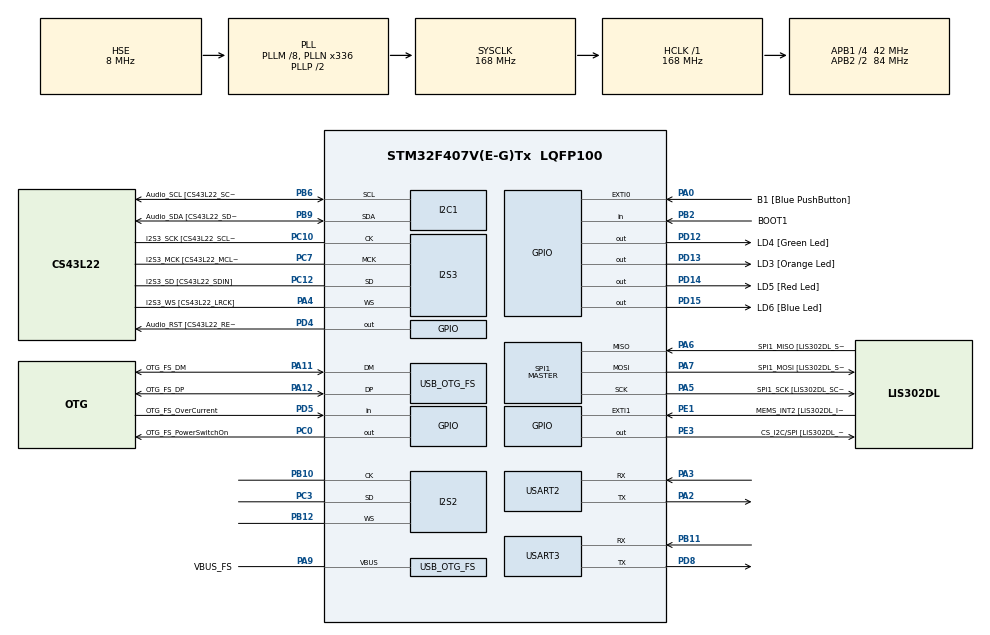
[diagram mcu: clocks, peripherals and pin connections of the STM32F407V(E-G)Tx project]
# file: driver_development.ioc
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Dma.Request0=SPI2_RX
Dma.SPI2_RX.0.Direction=DMA_PERIPH_TO_MEMORY
Dma.SPI2_RX.0.FIFOMode=DMA_FIFOMODE_DISABLE
Dma.SPI2_RX.0.Instance=DMA1_Stream3
Dma.SPI2_RX.0.MemDataAlignment=DMA_MDATAALIGN_HALFWORD
Dma.SPI2_RX.0.MemInc=DMA_MINC_ENABLE
Dma.SPI2_RX.0.Mode=DMA_CIRCULAR
Dma.SPI2_RX.0.PeriphDataAlignment=DMA_PDATAALIGN_HALFWORD
Dma.SPI2_RX.0.PeriphInc=DMA_PINC_DISABLE
Dma.SPI2_RX.0.Priority=DMA_PRIORITY_LOW
FREERTOS.Tasks01=defaultTask,24,128,StartDefaultTask,Default,NULL,Dynamic,NULL,NULL
FREERTOS.configUSE_NEWLIB_REENTRANT=1
I2S2.AudioFreq=I2S_AUDIOFREQ_32K
I2S2.ErrorAudioFreq=-0.26 %
I2S2.FullDuplexMode=I2S_FULLDUPLEXMODE_DISABLE
I2S2.Instance=SPI$Index
I2S2.Mode=I2S_MODE_MASTER_RX
I2S2.RealAudioFreq=31.914 KHz
I2S2.VirtualMode=I2S_MODE_MASTER
I2S3.AudioFreq-Half_Duplex_Master=I2S_AUDIOFREQ_96K
I2S3.ErrorAudioFreq=-2.34 %
I2S3.ErrorAudioFreq-Half_Duplex_Master=0.8 %
I2S3.FullDuplexMode=I2S_FULLDUPLEXMODE_DISABLE
I2S3.Instance=SPI$Index
I2S3.RealAudioFreq=93.75 KHz
I2S3.RealAudioFreq-Half_Duplex_Master=96.774 KHz
I2S3.VirtualMode=I2S_MODE_MASTER
Mcu.Family=STM32F4
Mcu.Name=STM32F407V(E-G)Tx
Mcu.Package=LQFP100
NVIC.DMA1_Stream3_IRQn=true\:5\:0\:false\:false\:true\:true\:false\:true\:true
NVIC.OTG_FS_IRQn=true\:5\:0\:false\:false\:true\:true\:true\:true\:true
NVIC.PriorityGroup=NVIC_PRIORITYGROUP_4
NVIC.SPI2_IRQn=true\:5\:0\:false\:false\:true\:true\:true\:true\:true
NVIC.TIM1_UP_TIM10_IRQn=true\:15\:0\:false\:false\:true\:false\:false\:true\:true
NVIC.TimeBase=TIM1_UP_TIM10_IRQn
NVIC.TimeBaseIP=TIM1
NVIC.USART3_IRQn=true\:5\:0\:false\:false\:true\:true\:true\:true\:true
PA0-WKUP.GPIO_Label=B1 [Blue PushButton]
PA0-WKUP.GPIO_ModeDefaultEXTI=GPIO_MODE_EVT_RISING
PA0-WKUP.GPIO_PuPd=GPIO_NOPULL
PA0-WKUP.Signal=GPXTI0
PA10.GPIO_Label=OTG_FS_ID
PA10.GPIO_Mode=GPIO_MODE_AF_PP
PA10.GPIO_PuPd=GPIO_NOPULL
PA10.GPIO_Speed=GPIO_SPEED_FREQ_LOW
PA10.Signal=USB_OTG_FS_ID
PA11.GPIO_Label=OTG_FS_DM
PA11.GPIO_Mode=GPIO_MODE_AF_PP
PA11.GPIO_PuPd=GPIO_NOPULL
PA11.GPIO_Speed=GPIO_SPEED_FREQ_LOW
PA11.Mode=Host_Only
PA11.Signal=USB_OTG_FS_DM
PA12.GPIO_Label=OTG_FS_DP
PA12.GPIO_Mode=GPIO_MODE_AF_PP
PA12.GPIO_PuPd=GPIO_NOPULL
PA12.GPIO_Speed=GPIO_SPEED_FREQ_LOW
PA12.Mode=Host_Only
PA12.Signal=USB_OTG_FS_DP
PA13.GPIO_Label=SWDIO
PA13.Mode=Serial_Wire
PA13.Signal=SYS_JTMS-SWDIO
PA14.GPIO_Label=SWCLK
PA14.Mode=Serial_Wire
PA14.Signal=SYS_JTCK-SWCLK
PA2.Mode=Asynchronous
PA2.Signal=USART2_TX
PA3.Mode=Asynchronous
PA3.Signal=USART2_RX
PA4.GPIO_Label=I2S3_WS [CS43L22_LRCK]
PA4.GPIO_Mode=GPIO_MODE_AF_PP
PA4.GPIO_PuPd=GPIO_NOPULL
PA4.GPIO_Speed=GPIO_SPEED_FREQ_LOW
PA4.Mode=Half_Duplex_Master
PA4.Signal=I2S3_WS
PA5.GPIO_Label=SPI1_SCK [LIS302DL_SCL/SPC]
PA5.GPIO_Mode=GPIO_MODE_AF_PP
PA5.GPIO_PuPd=GPIO_NOPULL
PA5.GPIO_Speed=GPIO_SPEED_FREQ_LOW
PA5.Mode=Full_Duplex_Master
PA5.Signal=SPI1_SCK
PA6.GPIO_Label=SPI1_MISO [LIS302DL_SDO]
PA6.GPIO_Mode=GPIO_MODE_AF_PP
PA6.GPIO_PuPd=GPIO_NOPULL
PA6.GPIO_Speed=GPIO_SPEED_FREQ_LOW
PA6.Mode=Full_Duplex_Master
PA6.Signal=SPI1_MISO
PA7.GPIO_Label=SPI1_MOSI [LIS302DL_SDA/SDI/SDO]
PA7.GPIO_Mode=GPIO_MODE_AF_PP
PA7.GPIO_PuPd=GPIO_NOPULL
PA7.GPIO_Speed=GPIO_SPEED_FREQ_LOW
PA7.Mode=Full_Duplex_Master
PA7.Signal=SPI1_MOSI
PA9.GPIO_Label=VBUS_FS
PA9.GPIO_Mode=GPIO_MODE_INPUT
PA9.GPIO_PuPd=GPIO_NOPULL
PA9.Mode=Activate_VBUS
PA9.Signal=USB_OTG_FS_VBUS
PB10.GPIO_Mode=GPIO_MODE_AF_PP
PB10.GPIO_PuPd=GPIO_NOPULL
PB10.GPIO_Speed=GPIO_SPEED_FREQ_LOW
PB10.Mode=Half_Duplex_Master
PB10.Signal=I2S2_CK
PB11.Mode=Asynchronous
PB11.Signal=USART3_RX
PB12.Mode=Half_Duplex_Master
PB12.Signal=I2S2_WS
PB2.GPIO_Label=BOOT1
PB2.GPIO_Mode=GPIO_MODE_INPUT
PB2.GPIO_PuPd=GPIO_NOPULL
PB2.Signal=GPIO_Input
PB3.GPIO_Label=SWO
PB3.Signal=SYS_JTDO-SWO
PB6.GPIO_Label=Audio_SCL [CS43L22_SCL]
PB6.GPIO_Mode=GPIO_MODE_AF_OD
PB6.GPIO_Pu=GPIO_PULLUP
PB6.GPIO_PuPd=GPIO_NOPULL
PB6.GPIO_Speed=GPIO_SPEED_FREQ_LOW
PB6.Mode=I2C
PB6.Signal=I2C1_SCL
PB9.GPIO_Label=Audio_SDA [CS43L22_SDA]
PB9.GPIO_Mode=GPIO_MODE_AF_OD
PB9.GPIO_Pu=GPIO_PULLUP
PB9.GPIO_PuPd=GPIO_NOPULL
PB9.GPIO_Speed=GPIO_SPEED_FREQ_LOW
PB9.Mode=I2C
PB9.Signal=I2C1_SDA
PC0.GPIO_Label=OTG_FS_PowerSwitchOn
PC0.GPIO_PuPd=GPIO_NOPULL
PC0.GPIO_Speed=GPIO_SPEED_FREQ_LOW
PC0.PinState=GPIO_PIN_SET
PC0.Signal=GPIO_Output
PC10.GPIO_Label=I2S3_SCK [CS43L22_SCLK]
PC10.GPIO_Mode=GPIO_MODE_AF_PP
PC10.GPIO_PuPd=GPIO_NOPULL
PC10.GPIO_Speed=GPIO_SPEED_FREQ_LOW
PC10.Mode=Half_Duplex_Master
PC10.Signal=I2S3_CK
PC12.GPIO_Label=I2S3_SD [CS43L22_SDIN]
PC12.GPIO_Mode=GPIO_MODE_AF_PP
PC12.GPIO_PuPd=GPIO_NOPULL
PC12.GPIO_Speed=GPIO_SPEED_FREQ_LOW
PC12.Mode=Half_Duplex_Master
PC12.Signal=I2S3_SD
PC14-OSC32_IN.GPIO_Label=PC14-OSC32_IN
PC14-OSC32_IN.Mode=LSE-External-Oscillator
PC14-OSC32_IN.Signal=RCC_OSC32_IN
PC15-OSC32_OUT.GPIO_Label=PC15-OSC32_OUT
PC15-OSC32_OUT.Mode=LSE-External-Oscillator
PC15-OSC32_OUT.Signal=RCC_OSC32_OUT
PC3.GPIO_Mode=GPIO_MODE_AF_PP
PC3.GPIO_PuPd=GPIO_NOPULL
PC3.GPIO_Speed=GPIO_SPEED_FREQ_LOW
PC3.Mode=Half_Duplex_Master
PC3.Signal=I2S2_SD
PC7.GPIO_Label=I2S3_MCK [CS43L22_MCLK]
PC7.GPIO_Mode=GPIO_MODE_AF_PP
PC7.GPIO_PuPd=GPIO_NOPULL
PC7.GPIO_Speed=GPIO_SPEED_FREQ_LOW
PC7.Mode=Master_Clock_Activated
PC7.Signal=I2S3_MCK
PD12.GPIO_Label=LD4 [Green Led]
PD12.GPIO_PuPd=GPIO_NOPULL
PD12.GPIO_Speed=GPIO_SPEED_FREQ_LOW
PD12.Signal=GPIO_Output
PD13.GPIO_Label=LD3 [Orange Led]
PD13.GPIO_PuPd=GPIO_NOPULL
PD13.GPIO_Speed=GPIO_SPEED_FREQ_LOW
PD13.Signal=GPIO_Output
PD14.GPIO_Label=LD5 [Red Led]
PD14.GPIO_PuPd=GPIO_NOPULL
PD14.GPIO_Speed=GPIO_SPEED_FREQ_LOW
PD14.Signal=GPIO_Output
PD15.GPIO_Label=LD6 [Blue Led]
PD15.GPIO_PuPd=GPIO_NOPULL
PD15.GPIO_Speed=GPIO_SPEED_FREQ_LOW
PD15.Signal=GPIO_Output
PD4.GPIO_Label=Audio_RST [CS43L22_RESET]
PD4.GPIO_PuPd=GPIO_NOPULL
PD4.GPIO_Speed=GPIO_SPEED_FREQ_LOW
PD4.Signal=GPIO_Output
PD5.GPIO_Label=OTG_FS_OverCurrent
PD5.GPIO_Mode=GPIO_MODE_INPUT
PD5.GPIO_PuPd=GPIO_NOPULL
PD5.Signal=GPIO_Input
PD8.Mode=Asynchronous
PD8.Signal=USART3_TX
PE1.GPIO_Label=MEMS_INT2 [LIS302DL_INT2]
PE1.GPIO_ModeDefaultEXTI=GPIO_MODE_EVT_RISING
PE1.GPIO_PuPd=GPIO_NOPULL
PE1.Signal=GPXTI1
PE3.GPIO_Label=CS_I2C/SPI [LIS302DL_CS_I2C/SPI]
PE3.GPIO_PuPd=GPIO_NOPULL
PE3.GPIO_Speed=GPIO_SPEED_FREQ_LOW
PE3.Signal=GPIO_Output
PH0-OSC_IN.GPIO_Label=PH0-OSC_IN
PH0-OSC_IN.Mode=HSE-External-Oscillator
PH0-OSC_IN.Signal=RCC_OSC_IN
PH1-OSC_OUT.GPIO_Label=PH1-OSC_OUT
PH1-OSC_OUT.Mode=HSE-External-Oscillator
PH1-OSC_OUT.Signal=RCC_OSC_OUT
ProjectManager.HeapSize=0x200
ProjectManager.StackSize=0x400
ProjectManager.TargetToolchain=STM32CubeIDE
RCC.48MHZClocksFreq_Value=48000000
RCC.AHBFreq_Value=168000000
RCC.APB1CLKDivider=RCC_HCLK_DIV4
RCC.APB1Freq_Value=42000000
RCC.APB1TimFreq_Value=84000000
RCC.APB2CLKDivider=RCC_HCLK_DIV2
RCC.APB2Freq_Value=84000000
RCC.APB2TimFreq_Value=168000000
RCC.CortexFreq_Value=168000000
RCC.HCLKFreq_Value=168000000
RCC.HSE_VALUE=8000000
RCC.HSI_VALUE=16000000
RCC.PLLM=8
RCC.PLLN=336
RCC.PLLQ=7
RCC.SYSCLKFreq_VALUE=168000000
RCC.SYSCLKSource=RCC_SYSCLKSOURCE_PLLCLK
RCC.VCOOutputFreq_Value=336000000
SPI1.BaudRatePrescaler-Full_Duplex_Master=SPI_BAUDRATEPRESCALER_2
SPI1.CalculateBaudRate-Full_Duplex_Master=42.0 MBits/s
SPI1.Direction=SPI_DIRECTION_2LINES
SPI1.Mode=SPI_MODE_MASTER
SPI1.Mode-Full_Duplex_Master=SPI_MODE_MASTER
SPI1.VirtualType=VM_MASTER
STMicroelectronics.X-CUBE-AI.10.2.0.XAaCUBEAaAICcArtificialOoIntelligenceJjCore=true
USART2.VirtualMode=VM_ASYNC
USART3.VirtualMode=VM_ASYNC
USB_HOST.BSP.number=1
USB_HOST.USBH_HandleTypeDef-CDC_FS=hUsbHostFS
USB_HOST.VirtualModeFS=Cdc
USB_HOST0.BSP.STBoard=false
USB_HOST0.BSP.api=Unknown
USB_HOST0.BSP.instance=PC0
USB_HOST0.BSP.ip=GPIO
USB_HOST0.BSP.mode=Output
USB_HOST0.BSP.name=Drive_VBUS_FS
USB_HOST0.BSP.solution=PC0
USB_OTG_FS.VirtualMode=Host_Only
USB_OTG_FS.phy_itface=HCD_PHY_EMBEDDED
VP_CRC_VS_CRC.Mode=CRC_Activate
VP_FREERTOS_VS_CMSIS_V2.Mode=CMSIS_V2
VP_PDM2PCM_VS_PDM2PCM.Mode=PDM2PCM_Channel
VP_STMicroelectronics.X-CUBE-AI_VS_ArtificialOoIntelligenceJjXAaCUBEAaAI_10.2.0.Mode=ArtificialOoIntelligenceJjXAaCUBEAaAI
VP_SYS_VS_tim1.Mode=TIM1
VP_USB_HOST_VS_USB_HOST_CDC_FS.Mode=CDC_FS
board=STM32F407G-DISC1

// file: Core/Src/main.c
/* USER CODE BEGIN Header */
/**
  ******************************************************************************
  * @file           : main.c
  * @brief          : Main program body
  ******************************************************************************
  * @attention
  *
  * Copyright (c) 2026 STMicroelectronics.
  * All rights reserved.
  *
  * This software is licensed under terms that can be found in the LICENSE file
  * in the root directory of this software component.
  * If no LICENSE file comes with this software, it is provided AS-IS.
  *
  ******************************************************************************
  */
/* USER CODE END Header */
#include "main.h"
#include "cmsis_os.h"
#include "pdm2pcm.h"
#include "usb_host.h"

/* USER CODE BEGIN Includes */
#include <stdio.h>
#include <stdlib.h>
#include "microphone.h"
#include "at_command.h"
#include "cellular.h"
#include "ai_platform.h"
#include "ai_datatypes_defines.h"
/* USER CODE END Includes */

/* USER CODE BEGIN PM */

/* Define Model's output classes. */
#define NO_CLASS                  0U
#define NOISE_CLASS               1U
#define YES_CLASS                 2U

/* Define Model's output threshold. */
#define DECISION_THRESHOLD        0.7

/* USER CODE END PM */

CRC_HandleTypeDef hcrc;

I2C_HandleTypeDef hi2c1;

I2S_HandleTypeDef hi2s2;
I2S_HandleTypeDef hi2s3;
DMA_HandleTypeDef hdma_spi2_rx;

SPI_HandleTypeDef hspi1;

UART_HandleTypeDef huart2;
UART_HandleTypeDef huart3;

/* Definitions for defaultTask */
osThreadId_t defaultTaskHandle;
const osThreadAttr_t defaultTask_attributes = {
  .name = "defaultTask",
  .stack_size = 128 * 4,
  .priority = (osPriority_t) osPriorityNormal,
};
/* USER CODE BEGIN PV */
char latest_signal_strength[64] = "Unknown";
char latest_network_time[64] = "Unknown";

osMutexId_t at_driver_mutexHandle;
const osMutexAttr_t at_driver_mutex_attributes = {
  .name = "at_driver_mutex"
};

// Handle definitions for other tasks
osThreadId_t signalTaskHandle;
osThreadId_t timeTaskHandle;

const osThreadAttr_t signalTask_attributes = {
  .name = "SignalTask",
  .stack_size = 256 * 4,
  .priority = (osPriority_t) osPriorityNormal,
};

const osThreadAttr_t timeTask_attributes = {
  .name = "TimeTask",
  .stack_size = 256 * 4,
  .priority = (osPriority_t) osPriorityAboveNormal,
};

osThreadId_t micTaskHandle;
const osThreadAttr_t micTask_attributes = {
  .name = "MicTask",
  .stack_size = 512 * 4,
  .priority = (osPriority_t) osPriorityAboveNormal, // Ses kaçırmamak için yüksek öncelik
};
/* USER CODE END PV */

void SystemClock_Config(void);
void PeriphCommonClock_Config(void);
static void MX_GPIO_Init(void);
static void MX_DMA_Init(void);
static void MX_I2C1_Init(void);
static void MX_I2S3_Init(void);
static void MX_SPI1_Init(void);
static void MX_USART3_UART_Init(void);
static void MX_I2S2_Init(void);
static void MX_CRC_Init(void);
static void MX_USART2_UART_Init(void);
void StartDefaultTask(void *argument);

/* USER CODE BEGIN PFP */

void StartSignalTask(void *argument);
void StartTimeTask(void *argument);
void StartMicTask(void *argument);

/* USER CODE END PFP */

int main(void)
{

  /* MCU Configuration--------------------------------------------------------*/

  /* Reset of all peripherals, Initializes the Flash interface and the Systick. */
  HAL_Init();

  /* Configure the system clock */
  SystemClock_Config();

  /* Configure the peripherals common clocks */
  PeriphCommonClock_Config();

  /* Initialize all configured peripherals */
  MX_GPIO_Init();
  MX_DMA_Init();
  MX_I2C1_Init();
  MX_I2S3_Init();
  MX_SPI1_Init();
  MX_USART3_UART_Init();
  MX_I2S2_Init();
  MX_CRC_Init();
  MX_PDM2PCM_Init();
  MX_USART2_UART_Init();
  /* USER CODE BEGIN 2 */

  AtCommand_Open(NULL);
  Microphone_Open(NULL);

  /* USER CODE END 2 */

  /* Init scheduler */
  osKernelInitialize();

  /* USER CODE BEGIN RTOS_MUTEX */

  at_driver_mutexHandle = osMutexNew(&at_driver_mutex_attributes);

  /* USER CODE END RTOS_MUTEX */

  /* Create the thread(s) */
  /* creation of defaultTask */
  defaultTaskHandle = osThreadNew(StartDefaultTask, NULL, &defaultTask_attributes);

  /* USER CODE BEGIN RTOS_THREADS */

  // Create threads for signal quality and time retrieval
  signalTaskHandle = osThreadNew(StartSignalTask, NULL, &signalTask_attributes);
  timeTaskHandle = osThreadNew(StartTimeTask, NULL, &timeTask_attributes);

  // Create thread for microphone data processing
  micTaskHandle = osThreadNew(StartMicTask, NULL, &micTask_attributes);
  /* USER CODE END RTOS_THREADS */

  /* Start scheduler */
  osKernelStart();

  /* We should never get here as control is now taken by the scheduler */

  /* Infinite loop */
  while (1)
  {

  }
}

void SystemClock_Config(void)
{
  RCC_OscInitTypeDef RCC_OscInitStruct = {0};
  RCC_ClkInitTypeDef RCC_ClkInitStruct = {0};

  /** Configure the main internal regulator output voltage
  */
  __HAL_RCC_PWR_CLK_ENABLE();
  __HAL_PWR_VOLTAGESCALING_CONFIG(PWR_REGULATOR_VOLTAGE_SCALE1);

  /** Initializes the RCC Oscillators according to the specified parameters
  * in the RCC_OscInitTypeDef structure.
  */
  RCC_OscInitStruct.OscillatorType = RCC_OSCILLATORTYPE_HSE;
  RCC_OscInitStruct.HSEState = RCC_HSE_ON;
  RCC_OscInitStruct.PLL.PLLState = RCC_PLL_ON;
  RCC_OscInitStruct.PLL.PLLSource = RCC_PLLSOURCE_HSE;
  RCC_OscInitStruct.PLL.PLLM = 8;
  RCC_OscInitStruct.PLL.PLLN = 336;
  RCC_OscInitStruct.PLL.PLLP = RCC_PLLP_DIV2;
  RCC_OscInitStruct.PLL.PLLQ = 7;
  if (HAL_RCC_OscConfig(&RCC_OscInitStruct) != HAL_OK)
  {
    Error_Handler();
  }

  /** Initializes the CPU, AHB and APB buses clocks
  */
  RCC_ClkInitStruct.ClockType = RCC_CLOCKTYPE_HCLK|RCC_CLOCKTYPE_SYSCLK
                              |RCC_CLOCKTYPE_PCLK1|RCC_CLOCKTYPE_PCLK2;
  RCC_ClkInitStruct.SYSCLKSource = RCC_SYSCLKSOURCE_PLLCLK;
  RCC_ClkInitStruct.AHBCLKDivider = RCC_SYSCLK_DIV1;
  RCC_ClkInitStruct.APB1CLKDivider = RCC_HCLK_DIV4;
  RCC_ClkInitStruct.APB2CLKDivider = RCC_HCLK_DIV2;

  if (HAL_RCC_ClockConfig(&RCC_ClkInitStruct, FLASH_LATENCY_5) != HAL_OK)
  {
    Error_Handler();
  }
}

void PeriphCommonClock_Config(void)
{
  RCC_PeriphCLKInitTypeDef PeriphClkInitStruct = {0};

  /** Initializes the peripherals clock
  */
  PeriphClkInitStruct.PeriphClockSelection = RCC_PERIPHCLK_I2S;
  PeriphClkInitStruct.PLLI2S.PLLI2SN = 192;
  PeriphClkInitStruct.PLLI2S.PLLI2SR = 2;
  if (HAL_RCCEx_PeriphCLKConfig(&PeriphClkInitStruct) != HAL_OK)
  {
    Error_Handler();
  }
}

static void MX_CRC_Init(void)
{

  hcrc.Instance = CRC;
  if (HAL_CRC_Init(&hcrc) != HAL_OK)
  {
    Error_Handler();
  }
  __HAL_CRC_DR_RESET(&hcrc);

}

static void MX_I2C1_Init(void)
{

  hi2c1.Instance = I2C1;
  hi2c1.Init.ClockSpeed = 100000;
  hi2c1.Init.DutyCycle = I2C_DUTYCYCLE_2;
  hi2c1.Init.OwnAddress1 = 0;
  hi2c1.Init.AddressingMode = I2C_ADDRESSINGMODE_7BIT;
  hi2c1.Init.DualAddressMode = I2C_DUALADDRESS_DISABLE;
  hi2c1.Init.OwnAddress2 = 0;
  hi2c1.Init.GeneralCallMode = I2C_GENERALCALL_DISABLE;
  hi2c1.Init.NoStretchMode = I2C_NOSTRETCH_DISABLE;
  if (HAL_I2C_Init(&hi2c1) != HAL_OK)
  {
    Error_Handler();
  }

}

static void MX_I2S2_Init(void)
{

  hi2s2.Instance = SPI2;
  hi2s2.Init.Mode = I2S_MODE_MASTER_RX;
  hi2s2.Init.Standard = I2S_STANDARD_PHILIPS;
  hi2s2.Init.DataFormat = I2S_DATAFORMAT_16B;
  hi2s2.Init.MCLKOutput = I2S_MCLKOUTPUT_DISABLE;
  hi2s2.Init.AudioFreq = I2S_AUDIOFREQ_32K;
  hi2s2.Init.CPOL = I2S_CPOL_LOW;
  hi2s2.Init.ClockSource = I2S_CLOCK_PLL;
  hi2s2.Init.FullDuplexMode = I2S_FULLDUPLEXMODE_DISABLE;
  if (HAL_I2S_Init(&hi2s2) != HAL_OK)
  {
    Error_Handler();
  }

}

static void MX_I2S3_Init(void)
{

  hi2s3.Instance = SPI3;
  hi2s3.Init.Mode = I2S_MODE_MASTER_TX;
  hi2s3.Init.Standard = I2S_STANDARD_PHILIPS;
  hi2s3.Init.DataFormat = I2S_DATAFORMAT_16B;
  hi2s3.Init.MCLKOutput = I2S_MCLKOUTPUT_ENABLE;
  hi2s3.Init.AudioFreq = I2S_AUDIOFREQ_96K;
  hi2s3.Init.CPOL = I2S_CPOL_LOW;
  hi2s3.Init.ClockSource = I2S_CLOCK_PLL;
  hi2s3.Init.FullDuplexMode = I2S_FULLDUPLEXMODE_DISABLE;
  if (HAL_I2S_Init(&hi2s3) != HAL_OK)
  {
    Error_Handler();
  }

}

static void MX_SPI1_Init(void)
{

  /* SPI1 parameter configuration*/
  hspi1.Instance = SPI1;
  hspi1.Init.Mode = SPI_MODE_MASTER;
  hspi1.Init.Direction = SPI_DIRECTION_2LINES;
  hspi1.Init.DataSize = SPI_DATASIZE_8BIT;
  hspi1.Init.CLKPolarity = SPI_POLARITY_LOW;
  hspi1.Init.CLKPhase = SPI_PHASE_1EDGE;
  hspi1.Init.NSS = SPI_NSS_SOFT;
  hspi1.Init.BaudRatePrescaler = SPI_BAUDRATEPRESCALER_2;
  hspi1.Init.FirstBit = SPI_FIRSTBIT_MSB;
  hspi1.Init.TIMode = SPI_TIMODE_DISABLE;
  hspi1.Init.CRCCalculation = SPI_CRCCALCULATION_DISABLE;
  hspi1.Init.CRCPolynomial = 10;
  if (HAL_SPI_Init(&hspi1) != HAL_OK)
  {
    Error_Handler();
  }

}

static void MX_USART2_UART_Init(void)
{

  huart2.Instance = USART2;
  huart2.Init.BaudRate = 115200;
  huart2.Init.WordLength = UART_WORDLENGTH_8B;
  huart2.Init.StopBits = UART_STOPBITS_1;
  huart2.Init.Parity = UART_PARITY_NONE;
  huart2.Init.Mode = UART_MODE_TX_RX;
  huart2.Init.HwFlowCtl = UART_HWCONTROL_NONE;
  huart2.Init.OverSampling = UART_OVERSAMPLING_16;
  if (HAL_UART_Init(&huart2) != HAL_OK)
  {
    Error_Handler();
  }

}

static void MX_USART3_UART_Init(void)
{

  huart3.Instance = USART3;
  huart3.Init.BaudRate = 115200;
  huart3.Init.WordLength = UART_WORDLENGTH_8B;
  huart3.Init.StopBits = UART_STOPBITS_1;
  huart3.Init.Parity = UART_PARITY_NONE;
  huart3.Init.Mode = UART_MODE_TX_RX;
  huart3.Init.HwFlowCtl = UART_HWCONTROL_NONE;
  huart3.Init.OverSampling = UART_OVERSAMPLING_16;
  if (HAL_UART_Init(&huart3) != HAL_OK)
  {
    Error_Handler();
  }

}

static void MX_DMA_Init(void)
{

  /* DMA controller clock enable */
  __HAL_RCC_DMA1_CLK_ENABLE();

  /* DMA interrupt init */
  /* DMA1_Stream3_IRQn interrupt configuration */
  HAL_NVIC_SetPriority(DMA1_Stream3_IRQn, 5, 0);
  HAL_NVIC_EnableIRQ(DMA1_Stream3_IRQn);

}

static void MX_GPIO_Init(void)
{
  GPIO_InitTypeDef GPIO_InitStruct = {0};

  /* GPIO Ports Clock Enable */
  __HAL_RCC_GPIOE_CLK_ENABLE();
  __HAL_RCC_GPIOC_CLK_ENABLE();
  __HAL_RCC_GPIOH_CLK_ENABLE();
  __HAL_RCC_GPIOA_CLK_ENABLE();
  __HAL_RCC_GPIOB_CLK_ENABLE();
  __HAL_RCC_GPIOD_CLK_ENABLE();

  /*Configure GPIO pin Output Level */
  HAL_GPIO_WritePin(CS_I2C_SPI_GPIO_Port, CS_I2C_SPI_Pin, GPIO_PIN_RESET);

  /*Configure GPIO pin Output Level */
  HAL_GPIO_WritePin(OTG_FS_PowerSwitchOn_GPIO_Port, OTG_FS_PowerSwitchOn_Pin, GPIO_PIN_SET);

  /*Configure GPIO pin Output Level */
  HAL_GPIO_WritePin(GPIOD, LD4_Pin|LD3_Pin|LD5_Pin|LD6_Pin
                          |Audio_RST_Pin, GPIO_PIN_RESET);

  /*Configure GPIO pin : CS_I2C_SPI_Pin */
  GPIO_InitStruct.Pin = CS_I2C_SPI_Pin;
  GPIO_InitStruct.Mode = GPIO_MODE_OUTPUT_PP;
  GPIO_InitStruct.Pull = GPIO_NOPULL;
  GPIO_InitStruct.Speed = GPIO_SPEED_FREQ_LOW;
  HAL_GPIO_Init(CS_I2C_SPI_GPIO_Port, &GPIO_InitStruct);

  /*Configure GPIO pin : OTG_FS_PowerSwitchOn_Pin */
  GPIO_InitStruct.Pin = OTG_FS_PowerSwitchOn_Pin;
  GPIO_InitStruct.Mode = GPIO_MODE_OUTPUT_PP;
  GPIO_InitStruct.Pull = GPIO_NOPULL;
  GPIO_InitStruct.Speed = GPIO_SPEED_FREQ_LOW;
  HAL_GPIO_Init(OTG_FS_PowerSwitchOn_GPIO_Port, &GPIO_InitStruct);

  /*Configure GPIO pin : B1_Pin */
  GPIO_InitStruct.Pin = B1_Pin;
  GPIO_InitStruct.Mode = GPIO_MODE_EVT_RISING;
  GPIO_InitStruct.Pull = GPIO_NOPULL;
  HAL_GPIO_Init(B1_GPIO_Port, &GPIO_InitStruct);

  /*Configure GPIO pin : BOOT1_Pin */
  GPIO_InitStruct.Pin = BOOT1_Pin;
  GPIO_InitStruct.Mode = GPIO_MODE_INPUT;
  GPIO_InitStruct.Pull = GPIO_NOPULL;
  HAL_GPIO_Init(BOOT1_GPIO_Port, &GPIO_InitStruct);

  /*Configure GPIO pins : LD4_Pin LD3_Pin LD5_Pin LD6_Pin
                           Audio_RST_Pin */
  GPIO_InitStruct.Pin = LD4_Pin|LD3_Pin|LD5_Pin|LD6_Pin
                          |Audio_RST_Pin;
  GPIO_InitStruct.Mode = GPIO_MODE_OUTPUT_PP;
  GPIO_InitStruct.Pull = GPIO_NOPULL;
  GPIO_InitStruct.Speed = GPIO_SPEED_FREQ_LOW;
  HAL_GPIO_Init(GPIOD, &GPIO_InitStruct);

  /*Configure GPIO pin : OTG_FS_OverCurrent_Pin */
  GPIO_InitStruct.Pin = OTG_FS_OverCurrent_Pin;
  GPIO_InitStruct.Mode = GPIO_MODE_INPUT;
  GPIO_InitStruct.Pull = GPIO_NOPULL;
  HAL_GPIO_Init(OTG_FS_OverCurrent_GPIO_Port, &GPIO_InitStruct);

  /*Configure GPIO pin : MEMS_INT2_Pin */
  GPIO_InitStruct.Pin = MEMS_INT2_Pin;
  GPIO_InitStruct.Mode = GPIO_MODE_EVT_RISING;
  GPIO_InitStruct.Pull = GPIO_NOPULL;
  HAL_GPIO_Init(MEMS_INT2_GPIO_Port, &GPIO_InitStruct);

}

/* USER CODE BEGIN 4 */
void StartMicTask(void *argument)
{
    int16_t pcm_data[16];

    for(;;)
    {
        if (Microphone_Read(pcm_data, 16) == E_MIC_ERR_NONE)
        {
            uint32_t total_amplitude = 0;

            // Calculate average amplitude of the 16 PCM samples to estimate noise level
            for (int i = 0; i < 16; i++) {
                // Voice data is centered around 0, so we take absolute value to get amplitude
                total_amplitude += abs(pcm_data[i]);
            }

            uint32_t avg_amplitude = total_amplitude / 16;

            // Threshold check
            if (avg_amplitude > 1800) {
                HAL_GPIO_WritePin(GPIOD, LD4_Pin, GPIO_PIN_SET);   // Green LED HIGH
            } else {
                HAL_GPIO_WritePin(GPIOD, LD4_Pin, GPIO_PIN_RESET); // Green LED LOW
            }
        } else {
			// If the semaphore times out (microphone freezes), to prevent locking up the processor:
			osDelay(1);
		}
    }
}

// Task 1: Measure Signal Quality (CSQ)
void StartSignalTask(void *argument)
{
    char resp_buf[64];
    AtCommandReq_t req = {
        .command = "AT+CSQ",
        .expected_resp = "OK",
        .timeout_ms = 1000,
        .resp_buffer = resp_buf,
        .resp_buffer_len = sizeof(resp_buf)
    };

    for(;;)
    {
        // Take the mutex before accessing the driver
        if (osMutexAcquire(at_driver_mutexHandle, osWaitForever) == osOK)
        {
            if(AtCommand_Ioctl(E_AT_IOCTL_SEND_CMD, &req) == E_AT_ERR_NONE) {
                if(req.line_count > 0) {
                	snprintf(latest_signal_strength, sizeof(latest_signal_strength), "%s", req.lines[0]);
                }
            }
            // Release the mutex after done
            osMutexRelease(at_driver_mutexHandle);
        }

        osDelay(5000);
    }
}

// Task 2: Get Current Time from Modem (CCLK)
void StartTimeTask(void *argument)
{
    char resp_buf[64];
    AtCommandReq_t req = {
        .command = "AT+CCLK?",
        .expected_resp = "OK",
        .timeout_ms = 1000,
        .resp_buffer = resp_buf,
        .resp_buffer_len = sizeof(resp_buf)
    };

    for(;;)
    {
        // Take the mutex before accessing the driver
        if (osMutexAcquire(at_driver_mutexHandle, osWaitForever) == osOK)
        {
            if(AtCommand_Ioctl(E_AT_IOCTL_SEND_CMD, &req) == E_AT_ERR_NONE) {
                 if(req.line_count > 0) {
                	 snprintf(latest_network_time, sizeof(latest_network_time), "%s", req.lines[0]);
                }
            }
            // Release the mutex after done
            osMutexRelease(at_driver_mutexHandle);
        }

        osDelay(3000);
    }
}

/* USER CODE END 4 */

void StartDefaultTask(void *argument)
{
  /* init code for USB_HOST */
  MX_USB_HOST_Init();
  /* USER CODE BEGIN 5 */

  // 1. Open the UART driver
  AtCommand_Open(NULL);

  // 2. Try to initialize the EG25-G
  atCommandErrorCodes_t res = Cellular_InitDevice();

  if (res == E_AT_ERR_NONE) {
	  // Try to setup the network
	  res = Cellular_SetupNetwork();
  }

  for(;;)
  {
	  osDelay(1000);
  }

  /* USER CODE END 5 */
}

void HAL_TIM_PeriodElapsedCallback(TIM_HandleTypeDef *htim)
{
  if (htim->Instance == TIM1)
  {
    HAL_IncTick();
  }
}

void Error_Handler(void)
{
  __disable_irq();
  while (1)
  {
  }
}
